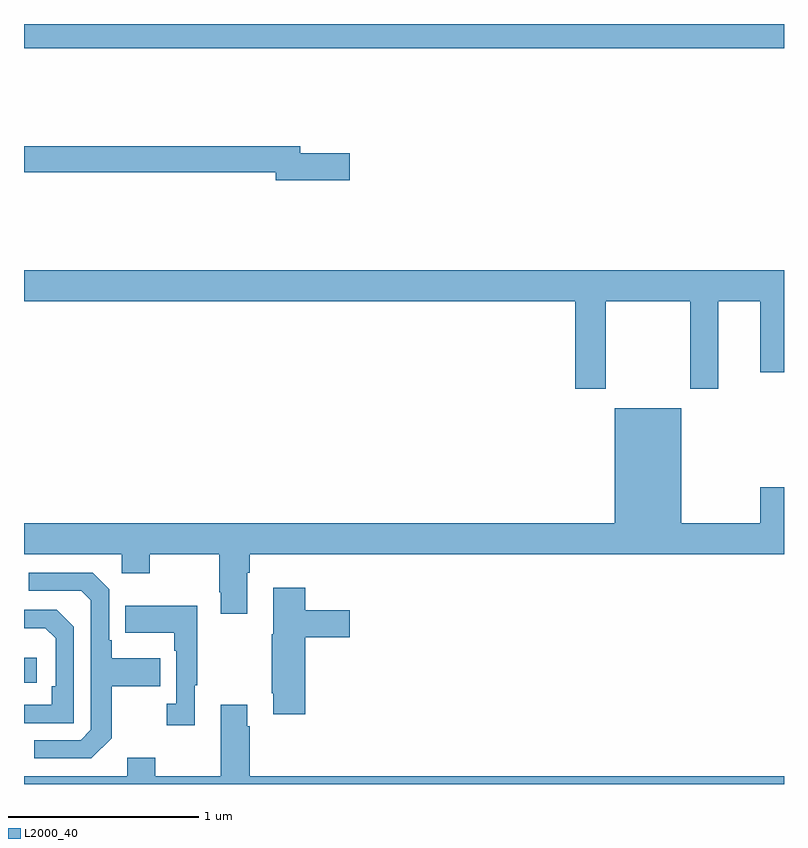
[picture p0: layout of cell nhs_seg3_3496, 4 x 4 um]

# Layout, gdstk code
import gdstk
lib = gdstk.Library(unit=1e-6, precision=1e-09)
def R(c, l, rs):  # rectangles x0, y0, x1, y1
    for r in rs: c.add(gdstk.rectangle(r[:2], r[2:], *l))
def P(c, l, *ps):  # polygons
    for p in ps: c.add(gdstk.Polygon(p, *l))
L2000_40 = (2000, 40)

nhs_seg3_3496 = lib.new_cell('nhs_seg3_3496')
R(nhs_seg3_3496, L2000_40, [(293,674.934,293.068,675.064), (293,678.272,297,678.4)])
P(nhs_seg3_3496, L2000_40, [(294.715,677.72),(294.454,677.72),(294.454,677.756),(293,677.756),(293,677.62),(294.326,677.62),(294.326,677.578),(294.715,677.578)],
  [(296.061,676.94),(296.506,676.94),(296.506,676.479),(296.653,676.479),(296.653,676.94),(296.876,676.94),(296.876,676.566),(297,676.566),(297,677.104),(293,677.104),(293,676.94),(295.901,676.94),(295.901,676.479),(296.061,676.479)],
  [(294.175,675.512),(294.188,675.512),(294.188,675.608),(297,675.608),(297,675.961),(296.876,675.961),(296.876,675.772),(296.458,675.772),(296.458,676.378),(296.108,676.378),(296.108,675.772),(293,675.772),(293,675.608),(293.514,675.608),(293.514,675.509),(293.661,675.509),(293.661,675.608),(294.028,675.608),(294.028,675.409),(294.035,675.409),(294.035,675.297),(294.175,675.297)],
  [(293.461,674.641),(293.461,674.914),(293.717,674.914),(293.717,675.061),(293.461,675.061),(293.461,675.157),(293.448,675.157),(293.448,675.426),(293.361,675.513),(293.025,675.513),(293.025,675.417),(293.301,675.417),(293.352,675.366),(293.352,674.685),(293.298,674.631),(293.055,674.631),(293.055,674.535),(293.355,674.535)],
  [(294.479,675.173),(294.715,675.173),(294.715,675.315),(294.479,675.315),(294.479,675.433),(294.311,675.433),(294.311,675.189),(294.304,675.189),(294.304,674.878),(294.311,674.878),(294.311,674.766),(294.479,674.766)],
  [(293.899,674.921),(293.911,674.921),(293.911,675.337),(293.533,675.337),(293.533,675.197),(293.79,675.197),(293.79,675.101),(293.802,675.101),(293.802,674.822),(293.751,674.822),(293.751,674.709),(293.899,674.709)],
  [(293.262,675.228),(293.172,675.318),(293,675.318),(293,675.221),(293.113,675.221),(293.166,675.168),(293.166,674.914),(293.146,674.914),(293.146,674.817),(293,674.817),(293,674.721),(293.262,674.721)],
  [(297,674.44),(294.188,674.44),(294.188,674.705),(294.175,674.705),(294.175,674.818),(294.035,674.818),(294.035,674.44),(293.691,674.44),(293.691,674.539),(293.543,674.539),(293.543,674.44),(293,674.44),(293,674.4),(297,674.4)])

lib.write_gds('nhs_seg3_3496.gds')
